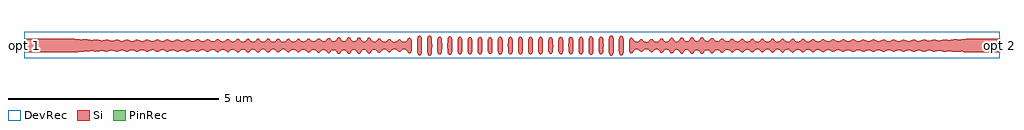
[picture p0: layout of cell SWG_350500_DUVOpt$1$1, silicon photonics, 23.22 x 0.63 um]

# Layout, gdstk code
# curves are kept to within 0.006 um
import gdstk
lib = gdstk.Library(unit=1e-6, precision=1e-09)
def R(c, l, rs):  # rectangles x0, y0, x1, y1
    for r in rs: c.add(gdstk.rectangle(r[:2], r[2:], *l))
def P(c, l, *ps):  # polygons
    for p in ps: c.add(gdstk.Polygon(p, *l))
Si = (1, 0)
PinRec = (1, 10)
DevRec = (68, 0)

swg_350500_duvopt_1_1 = lib.new_cell('SWG_350500_DUVOpt$1$1')
P(swg_350500_duvopt_1_1, Si, [(-32.271,-219.896),(-32.295,-219.887),(-32.347,-219.816),(-32.373,-219.807),(-32.411,-219.806),(-32.432,-219.816),(-32.482,-219.882),(-32.511,-219.895),(-32.533,-219.888),(-32.585,-219.819),(-32.611,-219.807),(-32.661,-219.809),(-32.728,-219.874),(-32.755,-219.881),(-32.776,-219.871),(-32.827,-219.815),(-32.862,-219.805),(-32.91,-219.811),(-32.989,-219.868),(-33.011,-219.861),(-33.058,-219.815),(-33.089,-219.801),(-33.136,-219.801),(-33.206,-219.852),(-33.233,-219.861),(-33.316,-219.801),(-33.364,-219.796),(-33.388,-219.802),(-33.468,-219.859),(-33.491,-219.852),(-33.526,-219.817),(-33.565,-219.795),(-33.614,-219.795),(-33.639,-219.806),(-33.691,-219.854),(-33.712,-219.86),(-33.794,-219.796),(-33.818,-219.791),(-33.865,-219.796),(-33.926,-219.853),(-33.947,-219.862),(-33.968,-219.857),(-34.031,-219.797),(-34.09,-219.79),(-34.117,-219.801),(-34.17,-219.857),(-34.202,-219.862),(-34.258,-219.806),(-34.295,-219.789),(-34.35,-219.797),(-34.403,-219.852),(-34.426,-219.864),(-34.455,-219.853),(-34.514,-219.797),(-34.568,-219.791),(-34.594,-219.801),(-34.645,-219.853),(-34.67,-219.864),(-34.695,-219.853),(-34.747,-219.802),(-34.773,-219.793),(-34.831,-219.801),(-34.905,-219.859),(-34.932,-219.852),(-34.999,-219.799),(-35.046,-219.794),(-35.149,-219.855),(-35.227,-219.807),(-35.273,-219.797),(-35.32,-219.81),(-35.373,-219.85),(-35.394,-219.854),(-35.455,-219.815),(-35.523,-219.8),(-35.628,-219.851),(-35.705,-219.812),(-35.75,-219.802),(-35.796,-219.812),(-35.873,-219.851),(-35.977,-219.804),(-36.024,-219.809),(-36.106,-219.85),(-36.188,-219.813),(-36.227,-219.805),(-36.273,-219.812),(-36.352,-219.847),(-36.454,-219.805),(-36.501,-219.808),(-36.585,-219.846),(-36.683,-219.807),(-36.717,-219.805),(-36.83,-219.847),(-36.907,-219.813),(-36.955,-219.804),(-37.076,-219.844),(-37.182,-219.805),(-37.236,-219.813),(-37.309,-219.845),(-37.433,-219.806),(-37.554,-219.845),(-37.644,-219.812),(-37.683,-219.81),(-37.787,-219.846),(-37.91,-219.813),(-38.041,-219.844),(-38.159,-219.82),(-38.258,-219.844),(-38.398,-219.83),(-38.503,-219.848),(-38.655,-219.845),(-38.849,-219.861),(-39.99,-219.862),(-39.99,-219.538),(-38.849,-219.539),(-38.655,-219.555),(-38.497,-219.553),(-38.388,-219.57),(-38.258,-219.556),(-38.159,-219.58),(-38.027,-219.556),(-37.91,-219.587),(-37.788,-219.555),(-37.683,-219.59),(-37.639,-219.587),(-37.548,-219.555),(-37.433,-219.594),(-37.4,-219.59),(-37.309,-219.555),(-37.228,-219.589),(-37.176,-219.595),(-37.063,-219.556),(-36.955,-219.597),(-36.922,-219.592),(-36.83,-219.553),(-36.722,-219.595),(-36.661,-219.585),(-36.597,-219.554),(-36.57,-219.558),(-36.501,-219.592),(-36.454,-219.595),(-36.351,-219.553),(-36.273,-219.588),(-36.219,-219.595),(-36.106,-219.55),(-36.024,-219.591),(-35.977,-219.596),(-35.873,-219.549),(-35.779,-219.595),(-35.75,-219.598),(-35.705,-219.589),(-35.628,-219.549),(-35.523,-219.6),(-35.477,-219.595),(-35.394,-219.546),(-35.372,-219.551),(-35.313,-219.593),(-35.273,-219.602),(-35.227,-219.593),(-35.149,-219.545),(-35.081,-219.592),(-35.046,-219.605),(-34.999,-219.601),(-34.926,-219.544),(-34.905,-219.541),(-34.82,-219.605),(-34.772,-219.607),(-34.737,-219.591),(-34.692,-219.545),(-34.67,-219.536),(-34.649,-219.545),(-34.595,-219.599),(-34.568,-219.61),(-34.522,-219.607),(-34.447,-219.541),(-34.426,-219.536),(-34.343,-219.607),(-34.295,-219.611),(-34.26,-219.597),(-34.221,-219.552),(-34.191,-219.536),(-34.17,-219.543),(-34.129,-219.59),(-34.091,-219.611),(-34.032,-219.603),(-33.968,-219.543),(-33.947,-219.538),(-33.925,-219.549),(-33.89,-219.588),(-33.841,-219.609),(-33.793,-219.603),(-33.712,-219.54),(-33.691,-219.546),(-33.643,-219.592),(-33.614,-219.606),(-33.555,-219.601),(-33.489,-219.548),(-33.468,-219.541),(-33.388,-219.598),(-33.363,-219.604),(-33.316,-219.599),(-33.233,-219.539),(-33.212,-219.544),(-33.136,-219.599),(-33.089,-219.598),(-32.989,-219.531),(-32.91,-219.589),(-32.855,-219.595),(-32.809,-219.571),(-32.777,-219.531),(-32.755,-219.519),(-32.721,-219.531),(-32.686,-219.574),(-32.66,-219.591),(-32.623,-219.593),(-32.584,-219.579),(-32.539,-219.518),(-32.511,-219.505),(-32.481,-219.518),(-32.438,-219.579),(-32.41,-219.594),(-32.385,-219.594),(-32.36,-219.591),(-32.332,-219.569),(-32.3,-219.517),(-32.266,-219.504),(-32.243,-219.515),(-32.212,-219.566),(-32.184,-219.592),(-32.161,-219.599),(-32.133,-219.6),(-32.107,-219.588),(-32.058,-219.518),(-32.032,-219.507),(-32.003,-219.518),(-31.961,-219.585),(-31.934,-219.603),(-31.883,-219.603),(-31.855,-219.582),(-31.813,-219.52),(-31.787,-219.512),(-31.765,-219.522),(-31.72,-219.589),(-31.685,-219.606),(-31.632,-219.602),(-31.575,-219.54),(-31.548,-219.53),(-31.529,-219.538),(-31.487,-219.589),(-31.454,-219.609),(-31.395,-219.606),(-31.336,-219.554),(-31.308,-219.543),(-31.286,-219.553),(-31.253,-219.59),(-31.205,-219.616),(-31.155,-219.611),(-31.074,-219.55),(-31.051,-219.556),(-31.001,-219.602),(-30.974,-219.613),(-30.928,-219.61),(-30.901,-219.593),(-30.851,-219.521),(-30.83,-219.515),(-30.807,-219.524),(-30.788,-219.547),(-30.776,-219.625),(-30.777,-219.816),(-30.791,-219.858),(-30.821,-219.884),(-30.851,-219.879),(-30.888,-219.821),(-30.928,-219.79),(-30.974,-219.787),(-31.011,-219.806),(-31.053,-219.845),(-31.074,-219.85),(-31.157,-219.787),(-31.206,-219.785),(-31.238,-219.798),(-31.286,-219.847),(-31.308,-219.857),(-31.329,-219.85),(-31.382,-219.799),(-31.409,-219.787),(-31.455,-219.791),(-31.495,-219.819),(-31.532,-219.864),(-31.553,-219.87),(-31.581,-219.855),(-31.632,-219.798),(-31.684,-219.793),(-31.719,-219.811),(-31.765,-219.878),(-31.787,-219.888),(-31.82,-219.873),(-31.854,-219.82),(-31.882,-219.798),(-31.934,-219.797),(-31.962,-219.817),(-32.004,-219.882),(-32.032,-219.893),(-32.054,-219.885),(-32.106,-219.812),(-32.134,-219.8),(-32.161,-219.801),(-32.2,-219.818),(-32.243,-219.885)],
  [(-24.105,-219.896),(-24.134,-219.887),(-24.17,-219.829),(-24.197,-219.804),(-24.222,-219.801),(-24.249,-219.801),(-24.277,-219.815),(-24.315,-219.873),(-24.35,-219.893),(-24.384,-219.874),(-24.415,-219.82),(-24.449,-219.796),(-24.5,-219.799),(-24.528,-219.822),(-24.561,-219.875),(-24.594,-219.887),(-24.617,-219.877),(-24.648,-219.825),(-24.675,-219.799),(-24.724,-219.792),(-24.751,-219.8),(-24.799,-219.855),(-24.828,-219.87),(-24.85,-219.864),(-24.885,-219.819),(-24.928,-219.789),(-24.987,-219.794),(-25.052,-219.852),(-25.073,-219.857),(-25.142,-219.798),(-25.178,-219.785),(-25.226,-219.788),(-25.307,-219.85),(-25.329,-219.844),(-25.382,-219.797),(-25.409,-219.787),(-25.455,-219.791),(-25.482,-219.81),(-25.522,-219.872),(-25.552,-219.885),(-25.589,-219.858),(-25.604,-219.782),(-25.601,-219.575),(-25.583,-219.534),(-25.552,-219.515),(-25.531,-219.521),(-25.482,-219.59),(-25.455,-219.609),(-25.409,-219.613),(-25.382,-219.604),(-25.329,-219.556),(-25.307,-219.55),(-25.226,-219.611),(-25.201,-219.614),(-25.154,-219.609),(-25.073,-219.543),(-25.052,-219.548),(-25.001,-219.599),(-24.974,-219.612),(-24.929,-219.611),(-24.893,-219.589),(-24.85,-219.536),(-24.828,-219.53),(-24.807,-219.539),(-24.751,-219.6),(-24.724,-219.608),(-24.687,-219.604),(-24.66,-219.589),(-24.617,-219.523),(-24.594,-219.513),(-24.561,-219.525),(-24.528,-219.578),(-24.501,-219.602),(-24.449,-219.604),(-24.423,-219.589),(-24.377,-219.518),(-24.35,-219.507),(-24.322,-219.518),(-24.276,-219.586),(-24.249,-219.599),(-24.193,-219.592),(-24.139,-219.517),(-24.116,-219.505),(-24.082,-219.515),(-24.05,-219.566),(-24.023,-219.589),(-23.971,-219.594),(-23.932,-219.569),(-23.899,-219.518),(-23.871,-219.505),(-23.841,-219.518),(-23.805,-219.571),(-23.772,-219.591),(-23.723,-219.592),(-23.691,-219.571),(-23.648,-219.523),(-23.626,-219.519),(-23.609,-219.525),(-23.57,-219.572),(-23.522,-219.596),(-23.472,-219.591),(-23.393,-219.531),(-23.371,-219.538),(-23.34,-219.57),(-23.294,-219.598),(-23.246,-219.599),(-23.222,-219.59),(-23.169,-219.545),(-23.148,-219.539),(-23.075,-219.593),(-23.019,-219.604),(-22.972,-219.586),(-22.914,-219.541),(-22.892,-219.546),(-22.816,-219.605),(-22.769,-219.606),(-22.669,-219.54),(-22.59,-219.602),(-22.542,-219.608),(-22.517,-219.605),(-22.445,-219.541),(-22.424,-219.538),(-22.338,-219.608),(-22.292,-219.611),(-22.265,-219.601),(-22.221,-219.552),(-22.19,-219.536),(-22.168,-219.544),(-22.129,-219.59),(-22.089,-219.612),(-22.041,-219.609),(-22.014,-219.593),(-21.981,-219.552),(-21.945,-219.536),(-21.862,-219.606),(-21.814,-219.61),(-21.788,-219.601),(-21.711,-219.536),(-21.689,-219.543),(-21.643,-219.591),(-21.611,-219.607),(-21.551,-219.6),(-21.487,-219.545),(-21.466,-219.54),(-21.384,-219.6),(-21.337,-219.606),(-21.312,-219.6),(-21.232,-219.545),(-21.134,-219.601),(-21.098,-219.602),(-21.063,-219.592),(-20.988,-219.546),(-20.906,-219.594),(-20.859,-219.6),(-20.832,-219.594),(-20.753,-219.549),(-20.659,-219.595),(-20.633,-219.598),(-20.586,-219.59),(-20.509,-219.549),(-20.408,-219.595),(-20.359,-219.592),(-20.264,-219.55),(-20.163,-219.595),(-20.121,-219.593),(-20.03,-219.553),(-19.928,-219.595),(-19.882,-219.593),(-19.797,-219.554),(-19.772,-219.557),(-19.701,-219.592),(-19.654,-219.595),(-19.551,-219.553),(-19.428,-219.597),(-19.306,-219.556),(-19.206,-219.595),(-19.155,-219.59),(-19.073,-219.556),(-18.95,-219.595),(-18.84,-219.556),(-18.81,-219.559),(-18.745,-219.586),(-18.7,-219.59),(-18.594,-219.555),(-18.473,-219.587),(-18.341,-219.556),(-18.223,-219.58),(-18.101,-219.555),(-17.984,-219.57),(-17.876,-219.552),(-17.719,-219.555),(-17.533,-219.539),(-16.79,-219.538),(-16.79,-219.862),(-17.524,-219.861),(-17.728,-219.845),(-17.885,-219.847),(-17.994,-219.83),(-18.116,-219.845),(-18.223,-219.82),(-18.355,-219.844),(-18.473,-219.813),(-18.594,-219.845),(-18.7,-219.81),(-18.738,-219.812),(-18.833,-219.845),(-18.95,-219.805),(-19.073,-219.845),(-19.144,-219.813),(-19.212,-219.806),(-19.312,-219.844),(-19.428,-219.803),(-19.551,-219.847),(-19.654,-219.805),(-19.701,-219.808),(-19.785,-219.846),(-19.882,-219.807),(-19.928,-219.805),(-20.03,-219.848),(-20.11,-219.811),(-20.156,-219.805),(-20.192,-219.813),(-20.264,-219.85),(-20.359,-219.808),(-20.394,-219.804),(-20.434,-219.813),(-20.509,-219.851),(-20.586,-219.811),(-20.633,-219.802),(-20.754,-219.851),(-20.86,-219.8),(-20.906,-219.806),(-20.973,-219.85),(-20.993,-219.854),(-21.063,-219.808),(-21.11,-219.798),(-21.156,-219.808),(-21.232,-219.855),(-21.312,-219.8),(-21.337,-219.794),(-21.384,-219.8),(-21.448,-219.852),(-21.472,-219.86),(-21.564,-219.794),(-21.611,-219.793),(-21.654,-219.818),(-21.689,-219.857),(-21.711,-219.864),(-21.735,-219.853),(-21.789,-219.798),(-21.814,-219.79),(-21.861,-219.794),(-21.896,-219.818),(-21.929,-219.857),(-21.956,-219.864),(-22.03,-219.798),(-22.089,-219.788),(-22.137,-219.818),(-22.168,-219.856),(-22.19,-219.864),(-22.215,-219.853),(-22.266,-219.799),(-22.292,-219.789),(-22.349,-219.797),(-22.424,-219.862),(-22.454,-219.853),(-22.518,-219.795),(-22.565,-219.791),(-22.59,-219.799),(-22.669,-219.86),(-22.769,-219.794),(-22.815,-219.795),(-22.84,-219.806),(-22.889,-219.852),(-22.914,-219.859),(-22.972,-219.814),(-23.019,-219.795),(-23.067,-219.803),(-23.148,-219.861),(-23.174,-219.852),(-23.246,-219.8),(-23.294,-219.801),(-23.322,-219.815),(-23.371,-219.862),(-23.392,-219.868),(-23.462,-219.815),(-23.497,-219.803),(-23.553,-219.815),(-23.626,-219.882),(-23.66,-219.867),(-23.707,-219.815),(-23.723,-219.807),(-23.772,-219.809),(-23.798,-219.822),(-23.841,-219.882),(-23.871,-219.895),(-23.906,-219.874),(-23.946,-219.818),(-23.972,-219.805),(-23.997,-219.806),(-24.033,-219.816),(-24.082,-219.885)],
  [(-30.59,-219.932),(-30.623,-219.911),(-30.644,-219.851),(-30.644,-219.556),(-30.627,-219.494),(-30.606,-219.472),(-30.584,-219.468),(-30.549,-219.499),(-30.536,-219.539),(-30.533,-219.729),(-30.537,-219.867),(-30.554,-219.91)],
  [(-30.351,-219.94),(-30.38,-219.926),(-30.399,-219.89),(-30.408,-219.711),(-30.402,-219.524),(-30.378,-219.474),(-30.351,-219.46),(-30.329,-219.467),(-30.303,-219.508),(-30.293,-219.678),(-30.297,-219.868),(-30.322,-219.926)],
  [(-30.116,-219.909),(-30.143,-219.891),(-30.165,-219.833),(-30.165,-219.589),(-30.16,-219.543),(-30.146,-219.515),(-30.127,-219.496),(-30.106,-219.491),(-30.074,-219.514),(-30.057,-219.557),(-30.056,-219.837),(-30.078,-219.891),(-30.095,-219.906)],
  [(-29.872,-219.921),(-29.899,-219.908),(-29.918,-219.873),(-29.927,-219.711),(-29.918,-219.526),(-29.898,-219.492),(-29.872,-219.479),(-29.838,-219.497),(-29.82,-219.533),(-29.813,-219.695),(-29.82,-219.865),(-29.842,-219.908)],
  [(-29.632,-219.907),(-29.661,-219.891),(-29.684,-219.833),(-29.686,-219.634),(-29.674,-219.531),(-29.654,-219.502),(-29.627,-219.493),(-29.607,-219.501),(-29.581,-219.543),(-29.574,-219.729),(-29.58,-219.855),(-29.6,-219.89)],
  [(-29.393,-219.905),(-29.42,-219.89),(-29.442,-219.844),(-29.446,-219.669),(-29.438,-219.543),(-29.411,-219.502),(-29.388,-219.495),(-29.356,-219.515),(-29.338,-219.558),(-29.334,-219.738),(-29.342,-219.856),(-29.361,-219.89)],
  [(-29.148,-219.906),(-29.175,-219.895),(-29.199,-219.855),(-29.206,-219.729),(-29.204,-219.566),(-29.184,-219.515),(-29.148,-219.494),(-29.128,-219.502),(-29.102,-219.543),(-29.094,-219.678),(-29.1,-219.85),(-29.114,-219.882)],
  [(-28.914,-219.898),(-28.936,-219.887),(-28.96,-219.846),(-28.966,-219.669),(-28.957,-219.545),(-28.936,-219.513),(-28.909,-219.502),(-28.881,-219.516),(-28.859,-219.559),(-28.854,-219.738),(-28.86,-219.846),(-28.885,-219.888)],
  [(-28.669,-219.908),(-28.691,-219.901),(-28.717,-219.863),(-28.726,-219.729),(-28.719,-219.543),(-28.694,-219.501),(-28.669,-219.492),(-28.646,-219.501),(-28.621,-219.542),(-28.614,-219.66),(-28.617,-219.84),(-28.635,-219.886)],
  [(-28.435,-219.907),(-28.471,-219.877),(-28.484,-219.833),(-28.485,-219.589),(-28.471,-219.524),(-28.454,-219.501),(-28.425,-219.493),(-28.406,-219.501),(-28.389,-219.523),(-28.377,-219.558),(-28.375,-219.818),(-28.389,-219.877),(-28.414,-219.904)],
  [(-28.191,-219.908),(-28.212,-219.899),(-28.237,-219.863),(-28.246,-219.729),(-28.239,-219.543),(-28.214,-219.501),(-28.191,-219.492),(-28.166,-219.501),(-28.141,-219.543),(-28.134,-219.66),(-28.14,-219.856),(-28.157,-219.889)],
  [(-27.957,-219.907),(-27.99,-219.877),(-28.004,-219.833),(-28.005,-219.589),(-27.999,-219.543),(-27.985,-219.515),(-27.967,-219.496),(-27.946,-219.492),(-27.915,-219.515),(-27.896,-219.564),(-27.896,-219.835),(-27.924,-219.897)],
  [(-27.712,-219.908),(-27.734,-219.899),(-27.757,-219.863),(-27.766,-219.729),(-27.759,-219.543),(-27.734,-219.501),(-27.712,-219.492),(-27.686,-219.501),(-27.662,-219.543),(-27.654,-219.678),(-27.661,-219.856),(-27.679,-219.89)],
  [(-27.472,-219.898),(-27.495,-219.888),(-27.52,-219.847),(-27.526,-219.66),(-27.519,-219.552),(-27.489,-219.507),(-27.467,-219.502),(-27.44,-219.517),(-27.418,-219.562),(-27.414,-219.738),(-27.42,-219.847),(-27.446,-219.888)],
  [(-27.233,-219.905),(-27.255,-219.895),(-27.281,-219.848),(-27.286,-219.669),(-27.278,-219.543),(-27.252,-219.502),(-27.228,-219.494),(-27.196,-219.515),(-27.178,-219.558),(-27.174,-219.738),(-27.181,-219.855),(-27.2,-219.89)],
  [(-26.988,-219.905),(-27.015,-219.894),(-27.036,-219.863),(-27.046,-219.729),(-27.044,-219.566),(-27.024,-219.515),(-26.988,-219.495),(-26.956,-219.515),(-26.941,-219.543),(-26.934,-219.66),(-26.939,-219.848),(-26.96,-219.89)],
  [(-26.754,-219.907),(-26.78,-219.89),(-26.801,-219.848),(-26.806,-219.669),(-26.799,-219.543),(-26.773,-219.501),(-26.749,-219.493),(-26.721,-219.507),(-26.697,-219.558),(-26.695,-219.833),(-26.721,-219.893)],
  [(-26.509,-219.921),(-26.538,-219.908),(-26.557,-219.874),(-26.567,-219.711),(-26.562,-219.541),(-26.543,-219.498),(-26.509,-219.479),(-26.477,-219.498),(-26.461,-219.528),(-26.453,-219.696),(-26.461,-219.871),(-26.481,-219.908)],
  [(-26.275,-219.909),(-26.302,-219.891),(-26.321,-219.848),(-26.327,-219.687),(-26.32,-219.543),(-26.298,-219.504),(-26.265,-219.491),(-26.238,-219.509),(-26.22,-219.543),(-26.213,-219.72),(-26.219,-219.856),(-26.237,-219.891)],
  [(-26.03,-219.94),(-26.064,-219.918),(-26.083,-219.868),(-26.087,-219.729),(-26.084,-219.539),(-26.063,-219.48),(-26.03,-219.46),(-25.997,-219.48),(-25.978,-219.524),(-25.972,-219.695),(-25.983,-219.895),(-26.001,-219.926)],
  [(-25.791,-219.932),(-25.826,-219.91),(-25.843,-219.867),(-25.847,-219.675),(-25.839,-219.517),(-25.819,-219.482),(-25.786,-219.468),(-25.753,-219.494),(-25.738,-219.54),(-25.735,-219.843),(-25.76,-219.916)])
R(swg_350500_duvopt_1_1, DevRec, [(-39.99,-220,-16.79,-219.37)])
swg_350500_duvopt_1_1.add(gdstk.FlexPath([(-16.8,-219.7),(-16.78,-219.7)], 0.324, ends="flush", simple_path=True, layer=1, datatype=10))  # PinRec
swg_350500_duvopt_1_1.add(gdstk.FlexPath([(-39.98,-219.7),(-40,-219.7)], 0.324, ends="flush", simple_path=True, layer=1, datatype=10))  # PinRec
swg_350500_duvopt_1_1.add(gdstk.Label('opt 2', (-16.79,-219.7), layer=1, texttype=10))
swg_350500_duvopt_1_1.add(gdstk.Label('opt 1', (-39.99,-219.7), layer=1, texttype=10))

lib.write_gds('SWG_350500_DUVOpt_1_1.gds')
